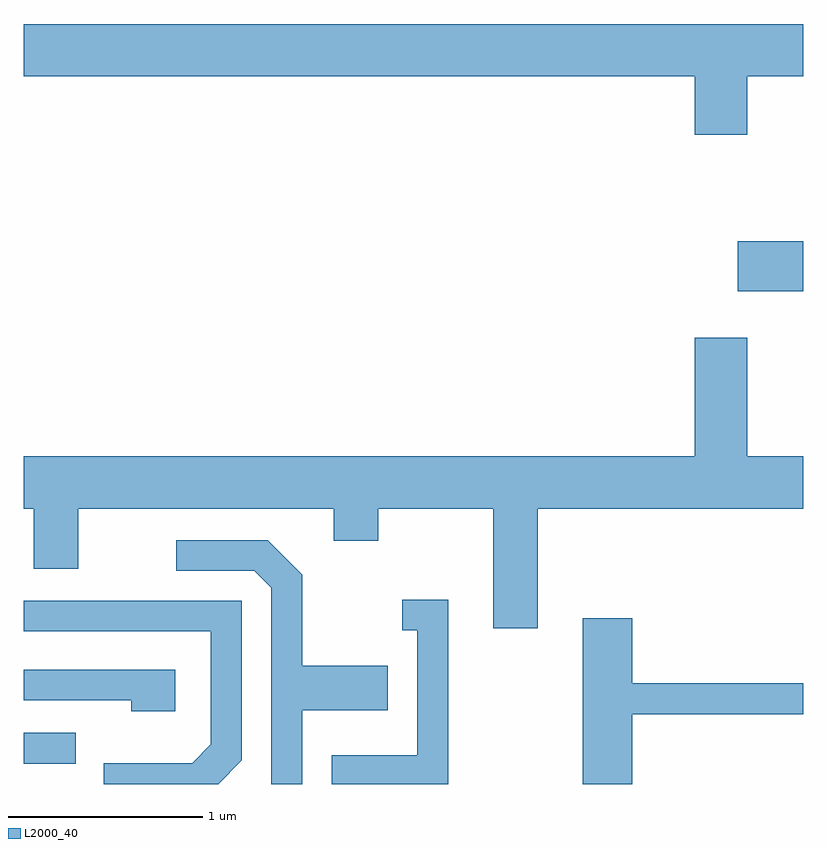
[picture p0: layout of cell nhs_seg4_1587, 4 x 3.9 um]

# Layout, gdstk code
import gdstk
lib = gdstk.Library(unit=1e-6, precision=1e-09)
def R(c, l, rs):  # rectangles x0, y0, x1, y1
    for r in rs: c.add(gdstk.rectangle(r[:2], r[2:], *l))
def P(c, l, *ps):  # polygons
    for p in ps: c.add(gdstk.Polygon(p, *l))
L2000_40 = (2000, 40)

nhs_seg4_1587 = lib.new_cell('nhs_seg4_1587')
R(nhs_seg4_1587, L2000_40, [(231.611,1300.086,231.878,1300.244), (235.276,1302.511,235.611,1302.769)])
P(nhs_seg4_1587, L2000_40, [(235.324,1303.616),(235.611,1303.616),(235.611,1303.884),(231.611,1303.884),(231.611,1303.616),(235.056,1303.616),(235.056,1303.316),(235.324,1303.316)],
  [(234.249,1301.396),(235.611,1301.396),(235.611,1301.664),(235.324,1301.664),(235.324,1302.274),(235.056,1302.274),(235.056,1301.664),(231.611,1301.664),(231.611,1301.396),(231.661,1301.396),(231.661,1301.086),(231.889,1301.086),(231.889,1301.396),(233.201,1301.396),(233.201,1301.231),(233.429,1301.231),(233.429,1301.396),(234.021,1301.396),(234.021,1300.781),(234.249,1300.781)],
  [(233.039,1300.361),(233.479,1300.361),(233.479,1300.589),(233.039,1300.589),(233.039,1301.057),(232.862,1301.234),(232.393,1301.234),(232.393,1301.076),(232.794,1301.076),(232.881,1300.989),(232.881,1299.982),(233.039,1299.982)],
  [(233.789,1300.929),(233.553,1300.929),(233.553,1300.771),(233.631,1300.771),(233.631,1300.129),(233.191,1300.129),(233.191,1299.982),(233.789,1299.982)],
  [(232.729,1300.104),(232.729,1300.924),(231.611,1300.924),(231.611,1300.766),(232.571,1300.766),(232.571,1300.187),(232.474,1300.089),(232.021,1300.089),(232.021,1299.982),(232.608,1299.982)],
  [(234.734,1300.341),(235.611,1300.341),(235.611,1300.499),(234.734,1300.499),(234.734,1300.834),(234.481,1300.834),(234.481,1299.982),(234.734,1299.982)],
  [(232.389,1300.569),(231.611,1300.569),(231.611,1300.411),(232.161,1300.411),(232.161,1300.356),(232.389,1300.356)])

lib.write_gds('nhs_seg4_1587.gds')
